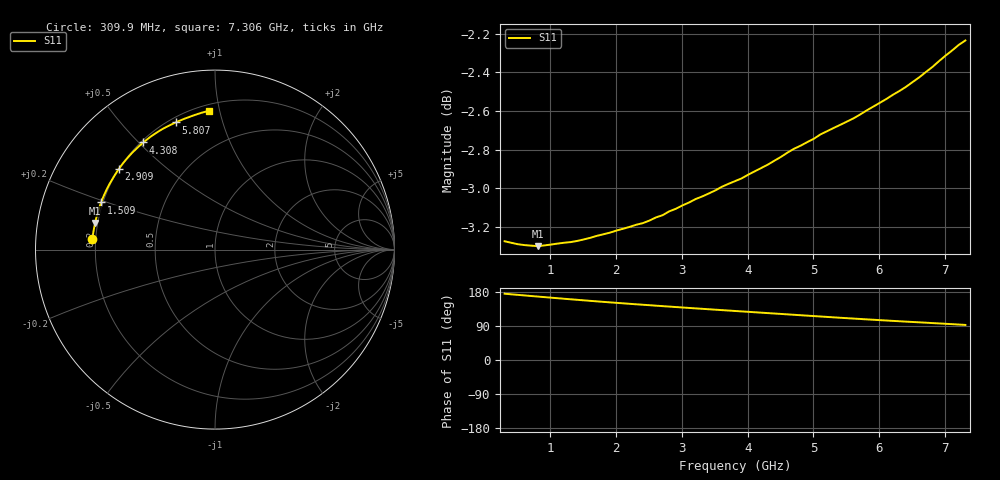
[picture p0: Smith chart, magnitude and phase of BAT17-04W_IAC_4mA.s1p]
! Infineon Technologies  Discrete & RF Semiconductors
! BAT17-04W
! IAC = 4 mA
! One-Port S-Parameters
# Hz  S  MA  R  50
!f  S11
!Hz  Mag  Ang
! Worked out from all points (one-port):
!   71 points, 309.9 MHz to 7.306 GHz, reference 50 ohm
!   lowest |S11| = -3.3 dB at 809.6 MHz (marker M1), VSWR 5.33, Z = 9.49 + j5.29 ohm
!   |S11| at or under -10 dB: nowhere
!   S11 on the Smith chart (normalised r, x): 309.9 MHz: 0.19, +0.04; 1.509 GHz: 0.19, +0.19; 2.909 GHz: 0.20, +0.35; 4.308 GHz: 0.21, +0.52; 5.807 GHz: 0.23, +0.71; 7.306 GHz: 0.24, +0.93
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3.0985e8  0.6859 174.9
6.097e8  0.6844 170.4
8.096e8  0.6839 167.5
1.0095e9  0.6846 164.6
1.2094e9  0.6853 161.7
1.50925e9  0.6867 157.5
1.8091e9  0.6888 153.4
2.009e9  0.6903 150.8
2.10895e9  0.6911 149.5
2.30885e9  0.6927 147.0
2.6087e9  0.6957 143.4
2.90855e9  0.6993 139.8
3.0085e9  0.7007 138.6
3.2084e9  0.7034 136.2
3.50825e9  0.707 132.8
3.8081e9  0.7109 129.4
4.30785e9  0.718 123.8
4.50775e9  0.7213 121.5
4.70765e9  0.7248 119.2
5.10745e9  0.731 114.8
5.2074e9  0.7324 113.7
5.4073e9  0.7352 111.4
5.6072e9  0.738 109.3
5.8071e9  0.7415 107.2
6.2069e9  0.7485 103.2
6.50675e9  0.7542 100.3
7.0065e9  0.7661 95.5
7.30635e9  0.7731 92.5
